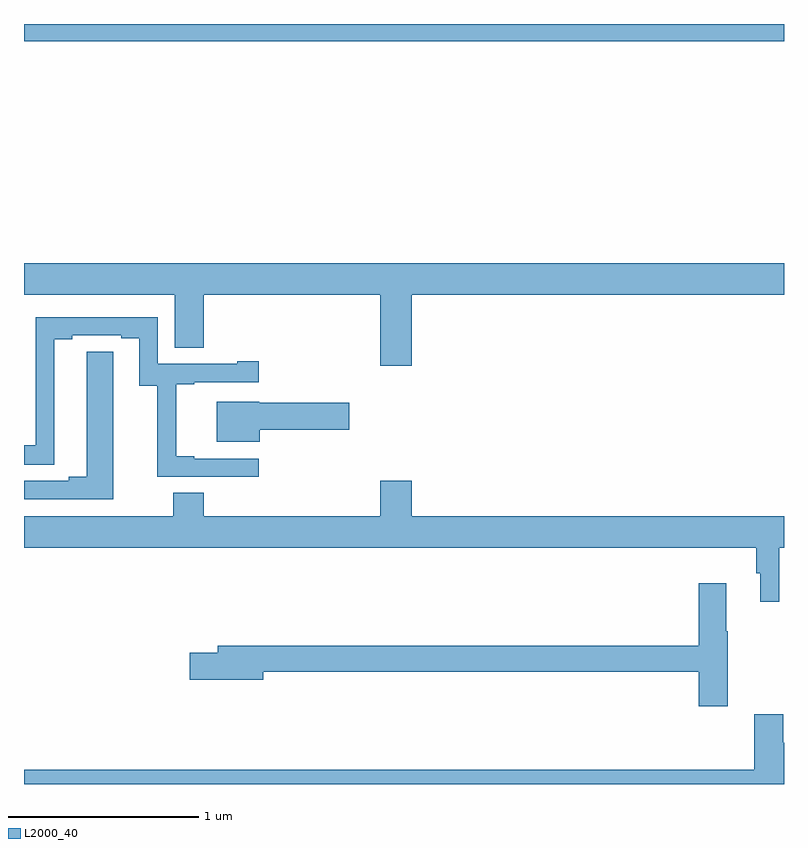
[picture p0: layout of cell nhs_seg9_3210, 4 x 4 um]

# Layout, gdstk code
import gdstk
lib = gdstk.Library(unit=1e-6, precision=1e-09)
def R(c, l, rs):  # rectangles x0, y0, x1, y1
    for r in rs: c.add(gdstk.rectangle(r[:2], r[2:], *l))
def P(c, l, *ps):  # polygons
    for p in ps: c.add(gdstk.Polygon(p, *l))
L2000_40 = (2000, 40)

nhs_seg9_3210 = lib.new_cell('nhs_seg9_3210')
R(nhs_seg9_3210, L2000_40, [(295,1208.408,299,1208.5)])
P(nhs_seg9_3210, L2000_40, [(297.04,1207.076),(299,1207.076),(299,1207.24),(295,1207.24),(295,1207.076),(295.793,1207.076),(295.793,1206.796),(295.946,1206.796),(295.946,1207.076),(296.876,1207.076),(296.876,1206.702),(297.04,1206.702)],
  [(296.236,1206.213),(295.897,1206.213),(295.897,1206.226),(295.802,1206.226),(295.802,1206.603),(295.897,1206.603),(295.897,1206.615),(296.236,1206.615),(296.236,1206.724),(296.123,1206.724),(296.123,1206.711),(295.704,1206.711),(295.704,1206.957),(295.062,1206.957),(295.062,1206.282),(295,1206.282),(295,1206.181),(295.159,1206.181),(295.159,1206.841),(295.255,1206.841),(295.255,1206.861),(295.511,1206.861),(295.511,1206.846),(295.607,1206.846),(295.607,1206.595),(295.702,1206.595),(295.702,1206.117),(296.236,1206.117)],
  [(295.471,1206.668),(295.47,1206.668),(295.47,1206.776),(295.331,1206.776),(295.331,1206.116),(295.235,1206.116),(295.235,1206.096),(295,1206.096),(295,1206),(295.471,1206)],
  [(296.242,1206.364),(296.713,1206.364),(296.713,1206.506),(296.238,1206.506),(296.238,1206.511),(296.015,1206.511),(296.015,1206.302),(296.242,1206.302)],
  [(298.974,1205.744),(299,1205.744),(299,1205.908),(297.04,1205.908),(297.04,1206.097),(296.876,1206.097),(296.876,1205.908),(295.946,1205.908),(295.946,1206.032),(295.786,1206.032),(295.786,1205.908),(295,1205.908),(295,1205.744),(298.855,1205.744),(298.855,1205.61),(298.874,1205.61),(298.874,1205.46),(298.974,1205.46)],
  [(298.704,1205.305),(298.696,1205.305),(298.696,1205.557),(298.55,1205.557),(298.55,1205.228),(296.021,1205.228),(296.021,1205.192),(295.872,1205.192),(295.872,1205.05),(296.26,1205.05),(296.26,1205.092),(298.55,1205.092),(298.55,1204.908),(298.704,1204.908)],
  [(299,1204.718),(298.996,1204.718),(298.996,1204.867),(298.844,1204.867),(298.844,1204.576),(295,1204.576),(295,1204.5),(299,1204.5)])

lib.write_gds('nhs_seg9_3210.gds')
